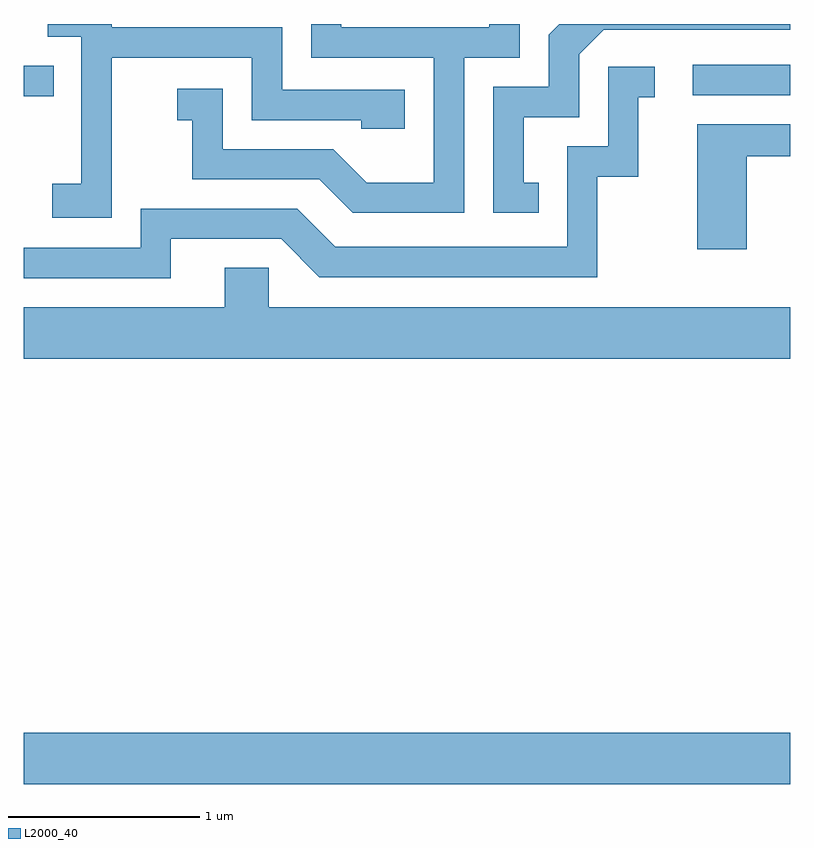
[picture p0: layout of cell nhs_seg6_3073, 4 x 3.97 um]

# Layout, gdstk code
import gdstk
lib = gdstk.Library(unit=1e-6, precision=1e-09)
def R(c, l, rs):  # rectangles x0, y0, x1, y1
    for r in rs: c.add(gdstk.rectangle(r[:2], r[2:], *l))
def P(c, l, *ps):  # polygons
    for p in ps: c.add(gdstk.Polygon(p, *l))
L2000_40 = (2000, 40)

nhs_seg6_3073 = lib.new_cell('nhs_seg6_3073')
R(nhs_seg6_3073, L2000_40, [(277.611,1612.196,281.611,1612.464), (277.611,1615.786,277.768,1615.944), (281.103,1615.791,281.611,1615.949)])
P(nhs_seg6_3073, L2000_40, [(279.909,1615.986),(280.199,1615.986),(280.199,1616.162),(280.041,1616.162),(280.041,1616.144),(279.269,1616.144),(279.269,1616.162),(279.111,1616.162),(279.111,1615.986),(279.751,1615.986),(279.751,1615.334),(279.402,1615.334),(279.227,1615.509),(278.649,1615.509),(278.649,1615.824),(278.413,1615.824),(278.413,1615.661),(278.491,1615.661),(278.491,1615.351),(279.154,1615.351),(279.329,1615.176),(279.909,1615.176)],
  [(278.069,1615.986),(278.801,1615.986),(278.801,1615.661),(279.371,1615.661),(279.371,1615.616),(279.599,1615.616),(279.599,1615.819),(278.959,1615.819),(278.959,1616.144),(278.069,1616.144),(278.069,1616.162),(277.736,1616.162),(277.736,1616.096),(277.911,1616.096),(277.911,1615.329),(277.761,1615.329),(277.761,1615.151),(278.069,1615.151)],
  [(280.298,1615.334),(280.219,1615.334),(280.219,1615.676),(280.509,1615.676),(280.509,1616.004),(280.637,1616.131),(281.611,1616.131),(281.611,1616.162),(280.406,1616.162),(280.351,1616.107),(280.351,1615.834),(280.061,1615.834),(280.061,1615.176),(280.298,1615.176)],
  [(278.379,1615.041),(278.954,1615.041),(279.154,1614.841),(280.604,1614.841),(280.604,1615.366),(280.819,1615.366),(280.819,1615.781),(280.903,1615.781),(280.903,1615.939),(280.661,1615.939),(280.661,1615.524),(280.446,1615.524),(280.446,1614.999),(279.237,1614.999),(279.037,1615.199),(278.221,1615.199),(278.221,1614.994),(277.611,1614.994),(277.611,1614.836),(278.379,1614.836)],
  [(281.384,1615.471),(281.611,1615.471),(281.611,1615.639),(281.126,1615.639),(281.126,1614.986),(281.384,1614.986)],
  [(281.611,1614.684),(278.889,1614.684),(278.889,1614.889),(278.661,1614.889),(278.661,1614.684),(277.611,1614.684),(277.611,1614.416),(281.611,1614.416)])

lib.write_gds('nhs_seg6_3073.gds')
